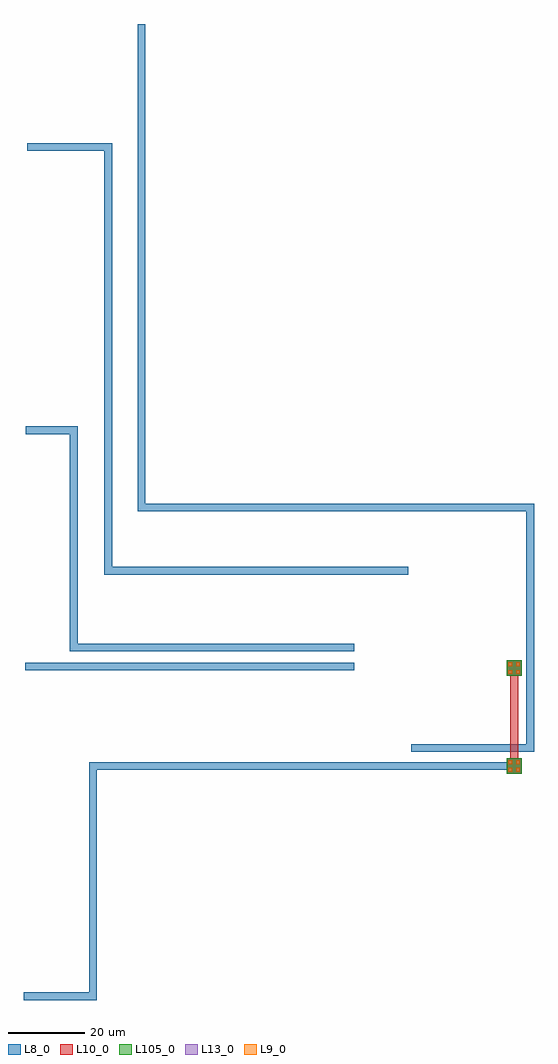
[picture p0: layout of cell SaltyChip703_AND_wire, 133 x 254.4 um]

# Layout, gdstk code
import gdstk
lib = gdstk.Library(unit=1e-6, precision=1e-09)
def R(c, l, rs):  # rectangles x0, y0, x1, y1
    for r in rs: c.add(gdstk.rectangle(r[:2], r[2:], *l))
L8_0 = (8, 0)
L9_0 = (9, 0)
L10_0 = (10, 0)
L13_0 = (13, 0)
L105_0 = (105, 0)

via_1 = lib.new_cell('Via$1')
R(via_1, L8_0, [(-1,-1,1,1)])
R(via_1, L9_0, [(-0.5,-0.5,0.5,0.5)])
R(via_1, L10_0, [(-1,-1,1,1)])
R(via_1, L13_0, [(-0.5,-0.5,0.5,0.5)])
R(via_1, L105_0, [(-1,-1,1,1)])

saltychip703_and_wire = lib.new_cell('SaltyChip703_AND_wire')
saltychip703_and_wire.add(gdstk.FlexPath([(-557,470.7),(-526,470.7),(-526,533.4),(-627.3,533.4),(-627.3,659.4)], 2, ends="flush", simple_path=True, layer=8, datatype=0))  # L8_0
saltychip703_and_wire.add(gdstk.FlexPath([(-657.1,627.3),(-636,627.3),(-636,516.9),(-557.8,516.9)], 2, ends="flush", simple_path=True, layer=8, datatype=0))  # L8_0
saltychip703_and_wire.add(gdstk.FlexPath([(-657.5,553.5),(-645,553.5),(-645,496.9),(-571.9,496.9)], 2, ends="flush", simple_path=True, layer=8, datatype=0))  # L8_0
saltychip703_and_wire.add(gdstk.FlexPath([(-571.9,491.9),(-657.6,491.9)], 2, ends="flush", simple_path=True, layer=8, datatype=0))  # L8_0
saltychip703_and_wire.add(gdstk.FlexPath([(-658,406),(-640,406),(-640,466),(-530,466)], 2, ends="flush", simple_path=True, layer=8, datatype=0))  # L8_0
saltychip703_and_wire.add(gdstk.FlexPath([(-530.2,492),(-530.2,465)], 2, ends="flush", simple_path=True, layer=10, datatype=0))  # L10_0
saltychip703_and_wire.add(gdstk.Reference(via_1, (-531.2,490.5)))
saltychip703_and_wire.add(gdstk.Reference(via_1, (-529.2,490.5)))
saltychip703_and_wire.add(gdstk.Reference(via_1, (-529.2,492.5)))
saltychip703_and_wire.add(gdstk.Reference(via_1, (-531.2,492.5)))
saltychip703_and_wire.add(gdstk.Reference(via_1, (-531.2,465)))
saltychip703_and_wire.add(gdstk.Reference(via_1, (-529.2,465)))
saltychip703_and_wire.add(gdstk.Reference(via_1, (-531.2,467)))
saltychip703_and_wire.add(gdstk.Reference(via_1, (-529.2,467)))

lib.write_gds('SaltyChip703_AND_wire.gds')
